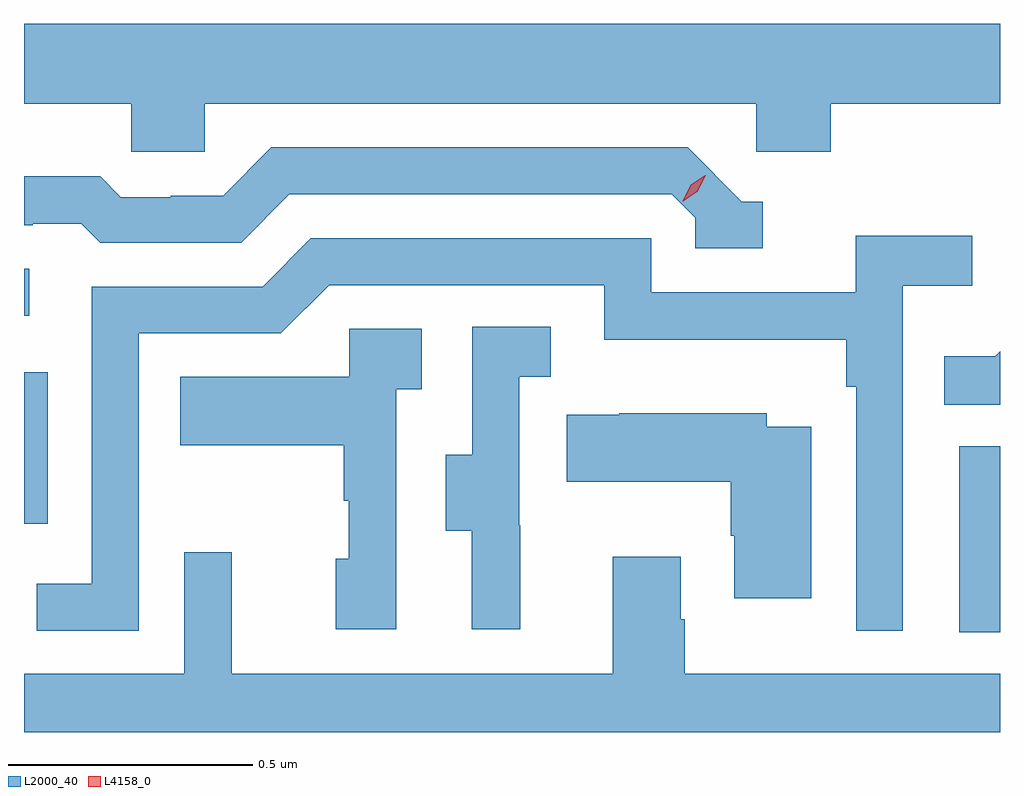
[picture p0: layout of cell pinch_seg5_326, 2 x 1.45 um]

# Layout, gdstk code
import gdstk
lib = gdstk.Library(unit=1e-6, precision=1e-09)
def R(c, l, rs):  # rectangles x0, y0, x1, y1
    for r in rs: c.add(gdstk.rectangle(r[:2], r[2:], *l))
def P(c, l, *ps):  # polygons
    for p in ps: c.add(gdstk.Polygon(p, *l))
L2000_40 = (2000, 40)
L4158_0 = (4158, 0)

pinch_seg5_326 = lib.new_cell('pinch_seg5_326')
R(pinch_seg5_326, L2000_40, [(936.368,891.641,936.451,892.023), (934.451,891.864,934.5,892.174), (934.451,892.29,934.462,892.386)])
P(pinch_seg5_326, L2000_40, [(934.821,892.724),(935.952,892.724),(935.952,892.626),(936.104,892.626),(936.104,892.724),(936.451,892.724),(936.451,892.888),(934.451,892.888),(934.451,892.724),(934.671,892.724),(934.671,892.626),(934.821,892.626)],
  [(935.965,892.524),(935.922,892.524),(935.811,892.635),(934.958,892.635),(934.859,892.536),(934.752,892.536),(934.752,892.533),(934.649,892.533),(934.607,892.576),(934.451,892.576),(934.451,892.476),(934.469,892.476),(934.469,892.479),(934.568,892.479),(934.607,892.44),(934.896,892.44),(934.995,892.539),(935.778,892.539),(935.826,892.491),(935.826,892.428),(935.965,892.428)],
  [(934.686,892.254),(934.977,892.254),(935.076,892.353),(935.64,892.353),(935.64,892.241),(936.136,892.241),(936.136,892.145),(936.156,892.145),(936.156,891.645),(936.252,891.645),(936.252,892.352),(936.394,892.352),(936.394,892.454),(936.155,892.454),(936.155,892.338),(935.736,892.338),(935.736,892.449),(935.039,892.449),(934.94,892.35),(934.59,892.35),(934.59,891.741),(934.477,891.741),(934.477,891.645),(934.686,891.645)],
  [(935.468,891.861),(935.466,891.861),(935.466,892.165),(935.53,892.165),(935.53,892.268),(935.37,892.268),(935.37,892.005),(935.315,892.005),(935.315,891.85),(935.369,891.85),(935.369,891.648),(935.468,891.648)],
  [(935.214,892.139),(935.266,892.139),(935.266,892.263),(935.118,892.263),(935.118,892.165),(934.771,892.165),(934.771,892.025),(935.106,892.025),(935.106,891.911),(935.116,891.911),(935.116,891.792),(935.09,891.792),(935.09,891.648),(935.214,891.648)],
  [(936.451,892.217),(936.441,892.207),(936.337,892.207),(936.337,892.108),(936.451,892.108)],
  [(936.064,892.063),(935.973,892.063),(935.973,892.09),(935.671,892.09),(935.671,892.087),(935.563,892.087),(935.563,891.95),(935.899,891.95),(935.899,891.839),(935.906,891.839),(935.906,891.711),(936.064,891.711)],
  [(936.451,891.556),(935.805,891.556),(935.805,891.668),(935.797,891.668),(935.797,891.796),(935.657,891.796),(935.657,891.556),(934.877,891.556),(934.877,891.805),(934.779,891.805),(934.779,891.556),(934.451,891.556),(934.451,891.437),(936.451,891.437)])
P(pinch_seg5_326, L4158_0, [(935.801,892.525),(935.801,892.526),(935.817,892.558),(935.847,892.578),(935.848,892.578),(935.848,892.578),(935.832,892.545),(935.802,892.525)])

lib.write_gds('pinch_seg5_326.gds')
